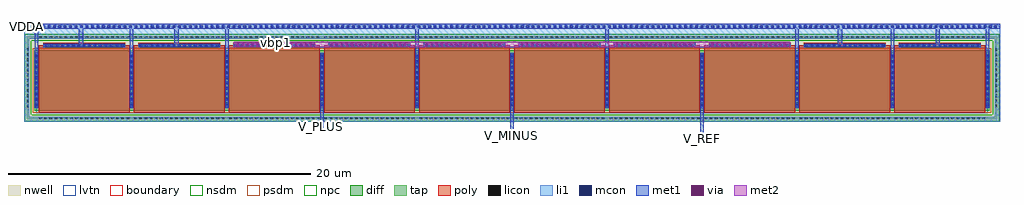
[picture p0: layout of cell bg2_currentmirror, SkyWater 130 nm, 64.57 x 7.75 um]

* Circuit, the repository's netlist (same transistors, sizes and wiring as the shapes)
** sch_path: /home/lenny/projects/test/layout/bg2_currentmirror.sch
**.subckt bg2_currentmirror VDDA vbp1 V_MINUS V_REF V_PLUS

*.ipin VDDA
*.ipin vbp1
*.opin V_PLUS
*.opin V_MINUS
*.opin V_REF
XM9 VDDA VDDA VDDA VDDA sky130_fd_pr__pfet_01v8_lvt L=6 W=4 nf=1 ad=1.16 as=1.16 pd=8.58 ps=8.58 nrd=0.0725 nrs=0.0725 sa=0 sb=0
+ sd=0 mult=1
XM3 V_PLUS vbp1 VDDA VDDA sky130_fd_pr__pfet_01v8_lvt L=6 W=4 nf=1 ad=1.16 as=1.16 pd=8.58 ps=8.58 nrd=0.0725 nrs=0.0725 sa=0 sb=0
+ sd=0 mult=1
XM1 VDDA VDDA VDDA VDDA sky130_fd_pr__pfet_01v8_lvt L=6 W=4 nf=1 ad=1.16 as=1.16 pd=8.58 ps=8.58 nrd=0.0725 nrs=0.0725 sa=0 sb=0
+ sd=0 mult=1
XM2 VDDA VDDA VDDA VDDA sky130_fd_pr__pfet_01v8_lvt L=6 W=4 nf=1 ad=1.16 as=1.16 pd=8.58 ps=8.58 nrd=0.0725 nrs=0.0725 sa=0 sb=0
+ sd=0 mult=1
XM10 VDDA VDDA VDDA VDDA sky130_fd_pr__pfet_01v8_lvt L=6 W=4 nf=1 ad=1.16 as=1.16 pd=8.58 ps=8.58 nrd=0.0725 nrs=0.0725 sa=0 sb=0
+ sd=0 mult=1
XM4 V_PLUS vbp1 VDDA VDDA sky130_fd_pr__pfet_01v8_lvt L=6 W=4 nf=1 ad=1.16 as=1.16 pd=8.58 ps=8.58 nrd=0.0725 nrs=0.0725 sa=0 sb=0
+ sd=0 mult=1
XM5 V_MINUS vbp1 VDDA VDDA sky130_fd_pr__pfet_01v8_lvt L=6 W=4 nf=1 ad=1.16 as=1.16 pd=8.58 ps=8.58 nrd=0.0725 nrs=0.0725 sa=0
+ sb=0 sd=0 mult=1
XM6 V_MINUS vbp1 VDDA VDDA sky130_fd_pr__pfet_01v8_lvt L=6 W=4 nf=1 ad=1.16 as=1.16 pd=8.58 ps=8.58 nrd=0.0725 nrs=0.0725 sa=0
+ sb=0 sd=0 mult=1
XM7 V_REF vbp1 VDDA VDDA sky130_fd_pr__pfet_01v8_lvt L=6 W=4 nf=1 ad=1.16 as=1.16 pd=8.58 ps=8.58 nrd=0.0725 nrs=0.0725 sa=0 sb=0
+ sd=0 mult=1
XM8 V_REF vbp1 VDDA VDDA sky130_fd_pr__pfet_01v8_lvt L=6 W=4 nf=1 ad=1.16 as=1.16 pd=8.58 ps=8.58 nrd=0.0725 nrs=0.0725 sa=0 sb=0
+ sd=0 mult=1
**.ends
.end

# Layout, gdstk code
import gdstk
lib = gdstk.Library(unit=1e-6, precision=1e-09)
def R(c, l, rs):  # rectangles x0, y0, x1, y1
    for r in rs: c.add(gdstk.rectangle(r[:2], r[2:], *l))
def A(c, l, x, y, w, h, nx, ny, dx, dy):  # array of equal rectangles
    R(c, l, [(x+i*dx, y+j*dy, x+i*dx+w, y+j*dy+h) for i in range(nx) for j in range(ny)])
nwell = (64, 20)
diff = (65, 20)
tap = (65, 44)
poly = (66, 20)
licon = (66, 44)
li1 = (67, 20)
mcon = (67, 44)
met1 = (68, 20)
via = (68, 44)
met2 = (69, 20)
nsdm = (93, 44)
psdm = (94, 20)
npc = (95, 20)
lvtn = (125, 44)
boundary = (235, 4)

sky130_fd_pr__pfet_01v8_ = lib.new_cell('sky130_fd_pr__pfet_01v8_lvt_6SXT9H')
R(sky130_fd_pr__pfet_01v8_, nwell, [(-3.98,-2.92,3.98,2.92)])
R(sky130_fd_pr__pfet_01v8_, diff, [(-3.29,-2.18,3.29,1.82)])
R(sky130_fd_pr__pfet_01v8_, tap, [(-3.8,-2.74,3.24,-2.57), (-3.8,-2.57,-3.63,2.57), (-3.8,2.57,3.24,2.74)])
R(sky130_fd_pr__pfet_01v8_, poly, [(-3,-2.31,3,2.14), (-2.71,2.14,2.71,2.305)])
A(sky130_fd_pr__pfet_01v8_, licon, -2.975, -2.74, 0.17, 0.17, 18, 2, 0.34, 5.31)
A(sky130_fd_pr__pfet_01v8_, licon, -3.8, -1.955, 0.17, 0.17, 1, 12, 0, 0.34)
A(sky130_fd_pr__pfet_01v8_, licon, -3.23, -1.795, 0.17, 0.17, 1, 10, 0, 0.34)
A(sky130_fd_pr__pfet_01v8_, licon, 3.06, -1.795, 0.17, 0.17, 1, 10, 0, 0.34)
A(sky130_fd_pr__pfet_01v8_, licon, -2.465, 2.055, 0.17, 0.17, 15, 1, 0.34, 0)
R(sky130_fd_pr__pfet_01v8_, li1, [(-3.07,-2.74,3.07,-2.57), (-3.8,-2.11,-3.63,2.11), (-3.23,-2.005,-3.06,1.645), (3.06,-2.005,3.23,1.645), (-2.71,2.055,2.71,2.225), (-3.07,2.57,3.07,2.74)])
A(sky130_fd_pr__pfet_01v8_, mcon, -3.23, -1.885, 0.17, 0.17, 1, 10, 0, 0.36)
A(sky130_fd_pr__pfet_01v8_, mcon, 3.06, -1.885, 0.17, 0.17, 1, 10, 0, 0.36)
A(sky130_fd_pr__pfet_01v8_, mcon, -2.605, 2.055, 0.17, 0.17, 15, 1, 0.36, 0)
R(sky130_fd_pr__pfet_01v8_, met1, [(-3.26,-1.985,-3.03,1.625), (3.03,-1.985,3.26,1.625), (-2.69,2.025,2.69,2.255)])
R(sky130_fd_pr__pfet_01v8_, nsdm, [(-3.925,-2.865,3.365,-2.445), (-3.925,-2.445,-3.505,2.445), (-3.925,2.445,3.365,2.865)])
R(sky130_fd_pr__pfet_01v8_, psdm, [(-3.415,-2.305,3.415,1.945)])
R(sky130_fd_pr__pfet_01v8_, npc, [(-2.565,1.955,2.565,2.325)])
R(sky130_fd_pr__pfet_01v8_, lvtn, [(-3.18,-2.36,3.18,2)])
R(sky130_fd_pr__pfet_01v8_, boundary, [(-3.715,-2.655,3.715,2.655)])
sky130_fd_pr__pfet_01v8_.add(gdstk.Label('B', (0,-2.655), layer=67, texttype=5))
sky130_fd_pr__pfet_01v8_.add(gdstk.Label('D', (-3.145,-0.18), layer=67, texttype=5))
sky130_fd_pr__pfet_01v8_.add(gdstk.Label('S', (3.145,-0.18), layer=67, texttype=5))
sky130_fd_pr__pfet_01v8_.add(gdstk.Label('G', (0,2.14), layer=67, texttype=5))

c_sky130_fd_pr__pfet_01v8_ = lib.new_cell('sky130_fd_pr__pfet_01v8_lvt_XVTMKJ')
R(c_sky130_fd_pr__pfet_01v8_, nwell, [(-3.98,-2.92,3.98,2.92)])
R(c_sky130_fd_pr__pfet_01v8_, diff, [(-3.29,-2.18,3.29,1.82)])
R(c_sky130_fd_pr__pfet_01v8_, tap, [(-3.265,-2.74,3.285,-2.57), (-3.265,2.57,3.285,2.74)])
R(c_sky130_fd_pr__pfet_01v8_, poly, [(-3,-2.31,3,2.14), (-2.71,2.14,2.71,2.305)])
A(c_sky130_fd_pr__pfet_01v8_, licon, -2.975, -2.74, 0.17, 0.17, 18, 2, 0.34, 5.31)
A(c_sky130_fd_pr__pfet_01v8_, licon, -3.23, -1.795, 0.17, 0.17, 1, 10, 0, 0.34)
A(c_sky130_fd_pr__pfet_01v8_, licon, 3.06, -1.795, 0.17, 0.17, 1, 10, 0, 0.34)
A(c_sky130_fd_pr__pfet_01v8_, licon, -2.465, 2.055, 0.17, 0.17, 15, 1, 0.34, 0)
R(c_sky130_fd_pr__pfet_01v8_, li1, [(-3.07,-2.74,3.07,-2.57), (-3.23,-2.005,-3.06,1.645), (3.06,-2.005,3.23,1.645), (-2.71,2.055,2.71,2.225), (-3.07,2.57,3.07,2.74)])
A(c_sky130_fd_pr__pfet_01v8_, mcon, -3.23, -1.885, 0.17, 0.17, 1, 10, 0, 0.36)
A(c_sky130_fd_pr__pfet_01v8_, mcon, 3.06, -1.885, 0.17, 0.17, 1, 10, 0, 0.36)
A(c_sky130_fd_pr__pfet_01v8_, mcon, -2.605, 2.055, 0.17, 0.17, 15, 1, 0.36, 0)
R(c_sky130_fd_pr__pfet_01v8_, met1, [(-3.26,-1.985,-3.03,1.625), (3.03,-1.985,3.26,1.625), (-2.69,2.025,2.69,2.255)])
R(c_sky130_fd_pr__pfet_01v8_, nsdm, [(-3.39,-2.865,3.41,-2.445), (-3.39,2.445,3.41,2.865)])
R(c_sky130_fd_pr__pfet_01v8_, psdm, [(-3.415,-2.305,3.415,1.945)])
R(c_sky130_fd_pr__pfet_01v8_, npc, [(-2.565,1.955,2.565,2.325)])
R(c_sky130_fd_pr__pfet_01v8_, lvtn, [(-3.18,-2.36,3.18,2)])
R(c_sky130_fd_pr__pfet_01v8_, boundary, [(-3.715,-2.655,3.715,2.655)])
c_sky130_fd_pr__pfet_01v8_.add(gdstk.Label('B', (0,-2.655), layer=67, texttype=5))
c_sky130_fd_pr__pfet_01v8_.add(gdstk.Label('D', (-3.145,-0.18), layer=67, texttype=5))
c_sky130_fd_pr__pfet_01v8_.add(gdstk.Label('S', (3.145,-0.18), layer=67, texttype=5))
c_sky130_fd_pr__pfet_01v8_.add(gdstk.Label('G', (0,2.14), layer=67, texttype=5))

c_sky130_fd_pr__pfet_01v8__ = lib.new_cell('sky130_fd_pr__pfet_01v8_lvt_FUXTLN')
R(c_sky130_fd_pr__pfet_01v8__, nwell, [(-3.98,-2.92,3.98,2.92)])
R(c_sky130_fd_pr__pfet_01v8__, diff, [(-3.29,-2.18,3.29,1.82)])
R(c_sky130_fd_pr__pfet_01v8__, tap, [(-3.17,-2.74,3.8,-2.57), (3.63,-2.57,3.8,2.57), (-3.17,2.57,3.8,2.74)])
R(c_sky130_fd_pr__pfet_01v8__, poly, [(-3,-2.31,3,2.14), (-2.71,2.14,2.71,2.305)])
A(c_sky130_fd_pr__pfet_01v8__, licon, -2.975, -2.74, 0.17, 0.17, 18, 2, 0.34, 5.31)
A(c_sky130_fd_pr__pfet_01v8__, licon, 3.63, -1.955, 0.17, 0.17, 1, 12, 0, 0.34)
A(c_sky130_fd_pr__pfet_01v8__, licon, -3.23, -1.795, 0.17, 0.17, 1, 10, 0, 0.34)
A(c_sky130_fd_pr__pfet_01v8__, licon, 3.06, -1.795, 0.17, 0.17, 1, 10, 0, 0.34)
A(c_sky130_fd_pr__pfet_01v8__, licon, -2.465, 2.055, 0.17, 0.17, 15, 1, 0.34, 0)
R(c_sky130_fd_pr__pfet_01v8__, li1, [(-3.07,-2.74,3.07,-2.57), (3.63,-2.11,3.8,2.11), (-3.23,-2.005,-3.06,1.645), (3.06,-2.005,3.23,1.645), (-2.71,2.055,2.71,2.225), (-3.07,2.57,3.07,2.74)])
A(c_sky130_fd_pr__pfet_01v8__, mcon, -3.23, -1.885, 0.17, 0.17, 1, 10, 0, 0.36)
A(c_sky130_fd_pr__pfet_01v8__, mcon, 3.06, -1.885, 0.17, 0.17, 1, 10, 0, 0.36)
A(c_sky130_fd_pr__pfet_01v8__, mcon, -2.605, 2.055, 0.17, 0.17, 15, 1, 0.36, 0)
R(c_sky130_fd_pr__pfet_01v8__, met1, [(-3.26,-1.985,-3.03,1.625), (3.03,-1.985,3.26,1.625), (-2.69,2.025,2.69,2.255)])
R(c_sky130_fd_pr__pfet_01v8__, nsdm, [(-3.295,-2.865,3.925,-2.445), (3.505,-2.445,3.925,2.445), (-3.295,2.445,3.925,2.865)])
R(c_sky130_fd_pr__pfet_01v8__, psdm, [(-3.415,-2.305,3.415,1.945)])
R(c_sky130_fd_pr__pfet_01v8__, npc, [(-2.565,1.955,2.565,2.325)])
R(c_sky130_fd_pr__pfet_01v8__, lvtn, [(-3.18,-2.36,3.18,2)])
R(c_sky130_fd_pr__pfet_01v8__, boundary, [(-3.715,-2.655,3.715,2.655)])
c_sky130_fd_pr__pfet_01v8__.add(gdstk.Label('B', (0,-2.655), layer=67, texttype=5))
c_sky130_fd_pr__pfet_01v8__.add(gdstk.Label('D', (-3.145,-0.18), layer=67, texttype=5))
c_sky130_fd_pr__pfet_01v8__.add(gdstk.Label('S', (3.145,-0.18), layer=67, texttype=5))
c_sky130_fd_pr__pfet_01v8__.add(gdstk.Label('G', (0,2.14), layer=67, texttype=5))

bg2_currentmirror = lib.new_cell('bg2_currentmirror')
R(bg2_currentmirror, li1, [(34.46,29.81,99.03,30.16), (34.46,30.16,34.81,35.3), (98.68,30.16,99.03,35.3), (34.46,35.3,99.03,36.29)])
A(bg2_currentmirror, mcon, 34.58, 36.04, 0.17, 0.17, 179, 1, 0.36, 0)
A(bg2_currentmirror, met1, 54.62, 34.755, 5.38, 0.355, 5, 1, 6.29, 0)
R(bg2_currentmirror, met1, [(79.21,28.54,79.44,30.84), (66.63,28.8,66.86,30.845), (54.05,29.385,54.28,32.835), (47.76,32.84,47.99,35.96), (91.79,33.8,92.02,35.96), (72.92,33.99,73.15,35.96), (85.5,34.17,85.73,35.96), (60.34,34.245,60.57,35.96), (98.08,34.275,98.31,35.96), (41.47,34.34,41.7,35.96), (35.18,34.35,35.41,35.96), (38.095,34.755,38.38,35.96), (44.405,34.755,44.69,35.96), (88.3,34.755,88.585,35.96), (94.765,34.755,95.05,35.96), (50.62,34.76,51.13,34.785), (48.46,34.785,53.595,34.87), (48.33,34.87,53.71,35.11), (34.46,35.96,99.03,36.29)])
A(bg2_currentmirror, via, 48.55, 34.855, 0.15, 0.15, 16, 1, 0.32, 0)
A(bg2_currentmirror, via, 54.77, 34.855, 0.15, 0.15, 16, 1, 0.32, 0)
A(bg2_currentmirror, via, 61.05, 34.855, 0.15, 0.15, 16, 1, 0.32, 0)
A(bg2_currentmirror, via, 67.355, 34.855, 0.15, 0.15, 16, 1, 0.32, 0)
A(bg2_currentmirror, via, 73.64, 34.855, 0.15, 0.15, 16, 1, 0.32, 0)
A(bg2_currentmirror, via, 79.935, 34.855, 0.15, 0.15, 16, 1, 0.32, 0)
R(bg2_currentmirror, met2, [(48.33,34.755,85.16,35.11)])
bg2_currentmirror.add(gdstk.Reference(sky130_fd_pr__pfet_01v8_, (38.44,32.73)))
bg2_currentmirror.add(gdstk.Reference(c_sky130_fd_pr__pfet_01v8_, (44.73,32.73)))
bg2_currentmirror.add(gdstk.Reference(c_sky130_fd_pr__pfet_01v8_, (51.02,32.73)))
bg2_currentmirror.add(gdstk.Reference(c_sky130_fd_pr__pfet_01v8_, (57.31,32.73)))
bg2_currentmirror.add(gdstk.Reference(c_sky130_fd_pr__pfet_01v8_, (63.6,32.73)))
bg2_currentmirror.add(gdstk.Reference(c_sky130_fd_pr__pfet_01v8_, (69.89,32.73)))
bg2_currentmirror.add(gdstk.Reference(c_sky130_fd_pr__pfet_01v8_, (76.18,32.73)))
bg2_currentmirror.add(gdstk.Reference(c_sky130_fd_pr__pfet_01v8_, (82.47,32.73)))
bg2_currentmirror.add(gdstk.Reference(c_sky130_fd_pr__pfet_01v8_, (88.76,32.73)))
bg2_currentmirror.add(gdstk.Reference(c_sky130_fd_pr__pfet_01v8__, (95.05,32.73)))
bg2_currentmirror.add(gdstk.Label('VDDA', (34.645,36.12), layer=68, texttype=5))
bg2_currentmirror.add(gdstk.Label('vbp1', (51.135,35.09), layer=69, texttype=5))
bg2_currentmirror.add(gdstk.Label('V_MINUS', (66.74,28.89), layer=68, texttype=5))
bg2_currentmirror.add(gdstk.Label('V_REF', (79.315,28.695), layer=68, texttype=5))
bg2_currentmirror.add(gdstk.Label('V_PLUS', (54.16,29.5), layer=68, texttype=5))

lib.write_gds('bg2_currentmirror.gds')
